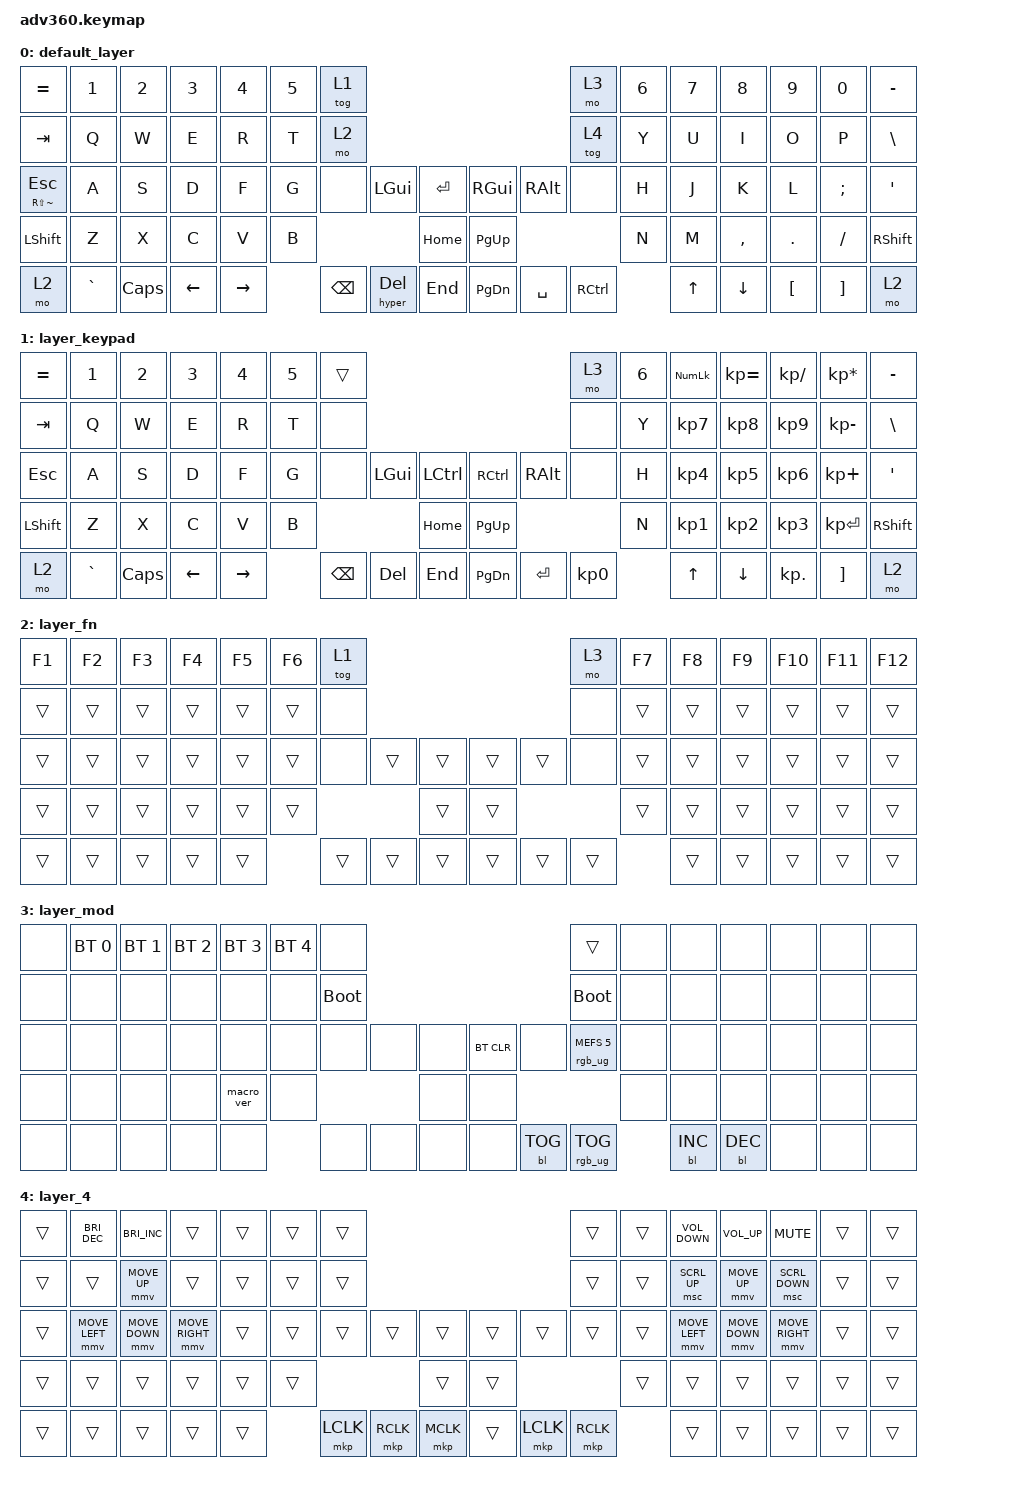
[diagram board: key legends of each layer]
/*
 * Copyright (c) 2020 The ZMK Contributors
 *
 * SPDX-License-Identifier: MIT
 */
/* THIS FILE WAS GENERATED!
 *
 * This file was generated automatically. You may or may not want to
 * edit it directly.
 */

#include <dt-bindings/zmk/stp.h>
#include <behaviors.dtsi>
#include <dt-bindings/zmk/backlight.h>
#include <dt-bindings/zmk/bt.h>
#include <dt-bindings/zmk/keys.h>
#include <dt-bindings/zmk/rgb.h>
#include <dt-bindings/zmk/mouse.h>

/ {
    behaviors {
        #include "macros.dtsi"
      #include "version.dtsi"

        hm: homerow_mods {
            compatible = "zmk,behavior-hold-tap";
            label = "HOMEROW_MODS";
            #binding-cells = <2>;
            tapping-term-ms = <200>;
            quick_tap_ms = <175>;
            flavor = "tap-preferred";
            bindings = <&kp>, <&kp>;
        };

        hyper_del: hyper_del {
            compatible = "zmk,behavior-hold-tap";
            #binding-cells = <2>;
            flavor = "balanced";
            tapping-term-ms = <350>;
            quick-tap-ms = <175>;
            bindings = <&hyper>, <&kp>;
        };
    };

    macros {
        hyper: hyper {
            compatible = "zmk,behavior-macro";
            #binding-cells = <0>;
            bindings =
                <&macro_press>,
                <&kp LSHFT &kp LCTRL &kp LALT &kp LGUI>,
                <&macro_pause_for_release>,
                <&macro_release>,
                <&kp LSHFT &kp LCTRL &kp LALT &kp LGUI>;
        };
    };

    keymap {
        compatible = "zmk,keymap";

        default_layer {
            bindings = <
&kp EQUAL          &kp N1     &kp N2        &kp N3    &kp N4     &kp N5  &tog 1                                                           &mo 3      &kp N6  &kp N7  &kp N8     &kp N9    &kp N0    &kp MINUS
&kp TAB            &kp Q      &kp W         &kp E     &kp R      &kp T   &mo 2                                                            &tog 4     &kp Y   &kp U   &kp I      &kp O     &kp P     &kp BSLH
&mt RS(TILDE) ESC  &kp A      &kp S         &kp D     &kp F      &kp G   &none     &kp LGUI          &kp ENTER      &kp RGUI   &kp RALT   &none      &kp H   &kp J   &kp K      &kp L     &kp SEMI  &kp SQT
&kp LSHFT          &kp Z      &kp X         &kp C     &kp V      &kp B                               &kp HOME       &kp PG_UP                        &kp N   &kp M   &kp COMMA  &kp DOT   &kp FSLH  &kp RSHFT
&mo 2              &kp GRAVE  &kp CAPSLOCK  &kp LEFT  &kp RIGHT          &kp BSPC  &hyper_del 0 DEL  &kp END        &kp PG_DN  &kp SPACE  &kp RCTRL          &kp UP  &kp DOWN   &kp LBKT  &kp RBKT  &mo 2
            >;
        };

        layer_keypad {
            bindings = <
&kp EQUAL  &kp N1     &kp N2    &kp N3    &kp N4     &kp N5  &trans                                                   &mo 3      &kp N6  &kp KP_NUM  &kp KP_EQUAL  &kp KP_DIVIDE  &kp KP_MULTIPLY  &kp MINUS
&kp TAB    &kp Q      &kp W     &kp E     &kp R      &kp T   &none                                                    &none      &kp Y   &kp KP_N7   &kp KP_N8     &kp KP_N9      &kp KP_MINUS     &kp BSLH
&kp ESC    &kp A      &kp S     &kp D     &kp F      &kp G   &none     &kp LGUI  &kp LCTRL      &kp RCTRL  &kp RALT   &none      &kp H   &kp KP_N4   &kp KP_N5     &kp KP_N6      &kp KP_PLUS      &kp SQT
&kp LSHFT  &kp Z      &kp X     &kp C     &kp V      &kp B                       &kp HOME       &kp PG_UP                        &kp N   &kp KP_N1   &kp KP_N2     &kp KP_N3      &kp KP_ENTER     &kp RSHFT
&mo 2      &kp GRAVE  &kp CAPS  &kp LEFT  &kp RIGHT          &kp BSPC  &kp DEL   &kp END        &kp PG_DN  &kp ENTER  &kp KP_N0          &kp UP      &kp DOWN      &kp KP_DOT     &kp RBKT         &mo 2
            >;
        };

        layer_fn {
            bindings = <
&kp F1  &kp F2  &kp F3  &kp F4  &kp F5  &kp F6  &tog 1                                      &mo 3   &kp F7  &kp F8  &kp F9  &kp F10  &kp F11  &kp F12
&trans  &trans  &trans  &trans  &trans  &trans  &none                                       &none   &trans  &trans  &trans  &trans   &trans   &trans
&trans  &trans  &trans  &trans  &trans  &trans  &none   &trans  &trans      &trans  &trans  &none   &trans  &trans  &trans  &trans   &trans   &trans
&trans  &trans  &trans  &trans  &trans  &trans                  &trans      &trans                  &trans  &trans  &trans  &trans   &trans   &trans
&trans  &trans  &trans  &trans  &trans          &trans  &trans  &trans      &trans  &trans  &trans          &trans  &trans  &trans   &trans   &trans
            >;
        };

        layer_mod {
            bindings = <
&none  &bt BT_SEL 0  &bt BT_SEL 1  &bt BT_SEL 2  &bt BT_SEL 3  &bt BT_SEL 4  &none                                                  &trans                  &none  &none       &none       &none  &none  &none
&none  &none         &none         &none         &none         &none         &bootloader                                            &bootloader             &none  &none       &none       &none  &none  &none
&none  &none         &none         &none         &none         &none         &none        &none  &none      &bt BT_CLR  &none       &rgb_ug RGB_MEFS_CMD 5  &none  &none       &none       &none  &none  &none
&none  &none         &none         &none         &macro_ver    &none                             &none      &none                                           &none  &none       &none       &none  &none  &none
&none  &none         &none         &none         &none                       &none        &none  &none      &none       &bl BL_TOG  &rgb_ug RGB_TOG                &bl BL_INC  &bl BL_DEC  &none  &none  &none
            >;
        };

        layer_4 {
            bindings = <
&trans  &kp C_BRIGHTNESS_DEC  &kp C_BRIGHTNESS_INC  &trans  &trans  &trans  &trans                                      &trans        &trans     &kp C_VOLUME_DOWN  &kp C_VOLUME_UP  &kp K_MUTE  &trans  &trans
&trans  &trans                &mmv MOVE_UP          &trans  &trans  &trans  &trans                                      &trans        &trans     &msc SCRL_UP       &mmv MOVE_UP     &msc SCRL_DOWN  &trans  &trans
&trans  &mmv MOVE_LEFT        &mmv MOVE_DOWN        &mmv MOVE_RIGHT  &trans  &trans  &trans  &trans  &trans      &trans  &trans  &trans        &trans     &mmv MOVE_LEFT     &mmv MOVE_DOWN   &mmv MOVE_RIGHT  &trans  &trans
&trans  &trans                &trans                &trans  &trans  &trans                  &trans      &trans                        &trans     &trans             &trans           &trans           &trans  &trans
&trans  &trans                &trans                &trans  &trans                  &mkp LCLK  &mkp RCLK  &mkp MCLK      &trans  &mkp LCLK  &mkp RCLK             &trans             &trans           &trans           &trans  &trans
            >;
        };
    };
};
